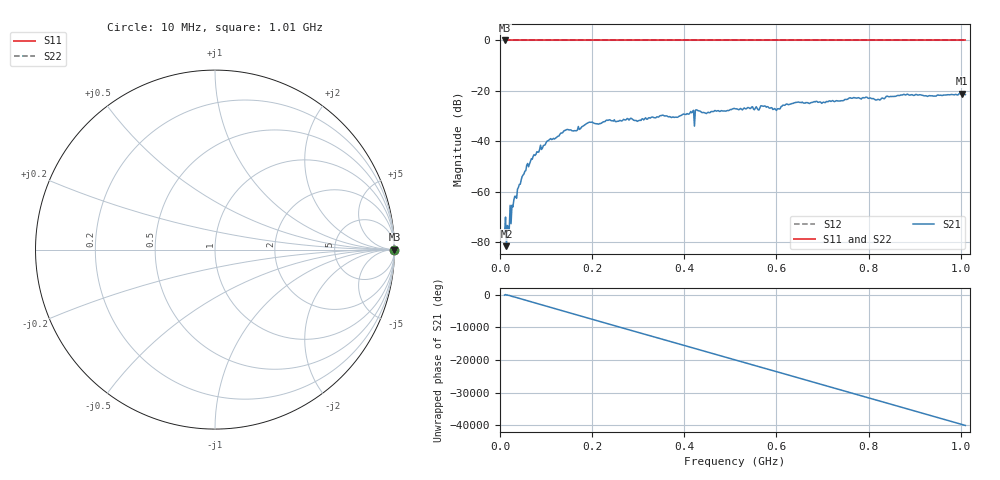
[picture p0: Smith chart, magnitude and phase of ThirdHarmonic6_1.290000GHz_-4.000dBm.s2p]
! 8/16/2025 2:06:10 PM
! C:\ANRITSUVNA\TEMP\TEMP.S2P
! CHANNEL.1
! TR.MEASUREMENT
! RAW.DATA
! RF.CORRECTION.OFF
! AVERAGING.OFF
! IF.BANDWIDTH: 5KHZ
! SWEEPTYPE:  FREQ.SWEEP(Linear)
! Reference Plane Port Info
! PORT:  PORT1  PORT2
! DISTANCE:  0  m  0  m
! TIME:  0  s  0  s
! PHASE.OFFSET:  0  deg.  0  deg.
! LOSS:  0  dB  0  dB
! REF.LOSS:  0  dB  0  dB
! REF.FREQ:  0  Hz  0  Hz
! Power Info
! POWER:  -20  dBm  -20  dBm
! EFF.POWER:  -20  dBm  -20  dBm
! SOURCE.ATTEN:  0  dB  0  dB
! TEST.ATTEN:  0  dB  0  dB
# GHZ S RI R 50.0
! FREQ.GHZ  S11RE  S11IM  S21RE  S21IM  S12RE  S12IM  S22RE  S22IM
!; PortSelection: Port_12
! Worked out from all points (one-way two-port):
!   501 points, 10 MHz to 1.01 GHz, reference 50 ohm
!   highest |S21| = -21.08 dB at 1.002 GHz (marker M1); lowest = -81.7 dB at 14 MHz (marker M2)
!   lowest |S11| = 0.0 dB at 10 MHz (marker M3)
!   |S11| at or under -10 dB: nowhere
!   |S22| runs from 0.0 to 0.0 dB; largest |S21 - S12| = 1.1
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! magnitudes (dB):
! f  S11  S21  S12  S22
! 10 MHz  0.0  -76.4  0.0  0.0
! 14 MHz  0.0  -81.7  0.0  0.0
! 18 MHz  0.0  -74.2  0.0  0.0
! 30 MHz  0.0  -63.3  0.0  0.0
! 42 MHz  0.0  -57.1  0.0  0.0
! 56 MHz  0.0  -51.7  0.0  0.0
! 70 MHz  0.0  -47.1  0.0  0.0
! 106 MHz  0.0  -39.6  0.0  0.0
! 142 MHz  0.0  -35.7  0.0  0.0
! 178 MHz  0.0  -34.2  0.0  0.0
! 196 MHz  0.0  -32.5  0.0  0.0
! 344 MHz  0.0  -30.4  0.0  0.0
! 382 MHz  0.0  -30.4  0.0  0.0
! 428 MHz  0.0  -27.6  0.0  0.0
! 510 MHz  0.0  -27.1  0.0  0.0
! 570 MHz  0.0  -26.0  0.0  0.0
! 602 MHz  0.0  -27.1  0.0  0.0
! 642 MHz  0.0  -24.6  0.0  0.0
! 678 MHz  0.0  -24.6  0.0  0.0
! 844 MHz  0.0  -22.4  0.0  0.0
! 1.002 GHz  0.0  -21.1  0.0  0.0
! 1.01 GHz  0.0  -21.5  0.0  0.0
